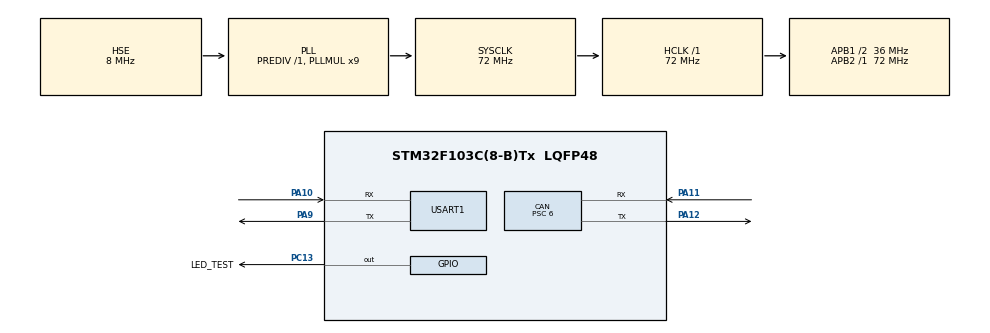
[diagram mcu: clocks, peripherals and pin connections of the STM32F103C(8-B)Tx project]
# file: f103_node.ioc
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CAN.ABOM=ENABLE
CAN.BS1=CAN_BS1_6TQ
CAN.BS2=CAN_BS2_5TQ
CAN.CalculateBaudRate=499999
CAN.CalculateTimeBit=2000
CAN.CalculateTimeQuantum=166.66666666666669
CAN.NART=ENABLE
CAN.Prescaler=6
Mcu.Family=STM32F1
Mcu.Name=STM32F103C(8-B)Tx
Mcu.Package=LQFP48
NVIC.PriorityGroup=NVIC_PRIORITYGROUP_4
NVIC.USART1_IRQn=true\:10\:0\:true\:false\:true\:true\:true\:true
NVIC.USB_HP_CAN1_TX_IRQn=true\:9\:0\:true\:false\:true\:true\:true\:true
NVIC.USB_LP_CAN1_RX0_IRQn=true\:9\:0\:true\:false\:true\:true\:true\:true
PA10.Mode=Asynchronous
PA10.Signal=USART1_RX
PA11.Mode=CAN_Activate
PA11.Signal=CAN_RX
PA12.Mode=CAN_Activate
PA12.Signal=CAN_TX
PA13.Mode=Serial_Wire
PA13.Signal=SYS_JTMS-SWDIO
PA14.Mode=Serial_Wire
PA14.Signal=SYS_JTCK-SWCLK
PA9.Mode=Asynchronous
PA9.Signal=USART1_TX
PC13-TAMPER-RTC.GPIO_Label=LED_TEST
PC13-TAMPER-RTC.PinState=GPIO_PIN_RESET
PC13-TAMPER-RTC.Signal=GPIO_Output
PD0-OSC_IN.Mode=HSE-External-Oscillator
PD0-OSC_IN.Signal=RCC_OSC_IN
PD1-OSC_OUT.Mode=HSE-External-Oscillator
PD1-OSC_OUT.Signal=RCC_OSC_OUT
ProjectManager.HeapSize=0x200
ProjectManager.StackSize=0x400
ProjectManager.TargetToolchain=CMake
RCC.AHBFreq_Value=72000000
RCC.APB1CLKDivider=RCC_HCLK_DIV2
RCC.APB1Freq_Value=36000000
RCC.APB1TimFreq_Value=72000000
RCC.APB2Freq_Value=72000000
RCC.APB2TimFreq_Value=72000000
RCC.HCLKFreq_Value=72000000
RCC.PLLMUL=RCC_PLL_MUL9
RCC.PLLSourceVirtual=RCC_PLLSOURCE_HSE
RCC.SYSCLKFreq_VALUE=72000000
RCC.SYSCLKSource=RCC_SYSCLKSOURCE_PLLCLK
RCC.USBFreq_Value=72000000
USART1.VirtualMode=VM_ASYNC
board=custom

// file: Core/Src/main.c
/* USER CODE BEGIN Header */
/**
  ******************************************************************************
  * @file           : main.c
  * @brief          : Main program body
  ******************************************************************************
  * @attention
  *
  * Copyright (c) 2026 STMicroelectronics.
  * All rights reserved.
  *
  * This software is licensed under terms that can be found in the LICENSE file
  * in the root directory of this software component.
  * If no LICENSE file comes with this software, it is provided AS-IS.
  *
  ******************************************************************************
  */
/* USER CODE END Header */
#include "main.h"
#include "can.h"
#include "usart.h"
#include "gpio.h"

/* USER CODE BEGIN Includes */

#include "can.h"

/* USER CODE END Includes */

/* USER CODE BEGIN PV */

volatile uint8_t heartbeat_in_flight = 0;
volatile uint8_t stateframe_in_flight = 0;
state volatile state_frame = {0};

/* USER CODE END PV */

void SystemClock_Config(void);

/* USER CODE BEGIN 0 */

volatile static uint16_t least_rpm = 0;
uint8_t Set_RPM(uint16_t rpm) {
  if (rpm == least_rpm) {
    return 2; // 目标转速重复，可以认为设置成功
  }
  if (0) {
    return 0; // 设置失败
  }
  least_rpm = rpm;
  HAL_GPIO_TogglePin(LED_TEST_GPIO_Port, LED_TEST_Pin);
  return 1; // 设置成功
}

uint8_t state_num = 0;
uint8_t Get_State(void) {
  if (0) {
    return 1; // 获取状态失败 以后再实现
  }
  state_frame.curentrpm = 930;
  state_frame.targetrpm = least_rpm;
  state_frame.voltage = 240;
  state_frame.temperature = 36;
  state_frame.state = 0x01;
  state_frame.errorcode = 0x00;
  state_frame.statenum = state_num++;
  return 0; // 获取状态成功
}

/* USER CODE END 0 */

int main(void)
{

  /* MCU Configuration--------------------------------------------------------*/

  /* Reset of all peripherals, Initializes the Flash interface and the Systick. */
  HAL_Init();

  /* Configure the system clock */
  SystemClock_Config();

  /* Initialize all configured peripherals */
  MX_GPIO_Init();
  MX_CAN_Init();
  MX_USART1_UART_Init();

  /* Infinite loop */
  /* USER CODE BEGIN WHILE */

  volatile static uint32_t least_tick_heart = 0;
  volatile static uint32_t least_tick_command = 0;
  volatile static uint32_t least_tick_state = 0;
  volatile static uint32_t heart_num = 0;
  least_tick_heart =  HAL_GetTick();
  least_tick_command =  HAL_GetTick();
  least_tick_state =  HAL_GetTick();
  while (1)
  {
    if (((HAL_GetTick() - least_tick_heart) >= 500) && !heartbeat_in_flight) {
      least_tick_heart = HAL_GetTick();
      CAN_Heart(heart_num++);
    }

    /* 执行控制命令 */
    if (((HAL_GetTick() - least_tick_command) >= 10) && Event_Flats.Total_Event > 0) {
      least_tick_command = HAL_GetTick();
      uint8_t commandcode = 0, commanddata[8], commandnum = 0;
      if (Event_Flats.RPM_Event > 0) {
        Event_Flats.Total_Event--;
        Event_Flats.RPM_Event--;
        if (ReadCommandValue(0x01, commanddata)) {
          /* 命令空  */
          Event_Flats.Error_Event++;
        }
        else {
          uint16_t rpm = 0;
          uint8_t status = 0;
          commandcode = commanddata[0];
          rpm = commanddata[1] | commanddata[2] << 8; // 小端序保存
          commandnum = commanddata[3];
          status = Set_RPM(rpm);
          if (status) {
            /* 发送应答 */
            CAN_ACK(commandcode, 0x00, commandnum);
          }
          else {
            CAN_ACK(commandcode, 0x01, commandnum);
            Event_Flats.Error_Event++;
          }
        }
      }
    }

    if (((HAL_GetTick() - least_tick_state) >= 5000) && !stateframe_in_flight) {
      least_tick_state = HAL_GetTick();
      Get_State();
      CAN_State(state_frame);
    }

    if (heartbeat_in_flight == 1 && !HAL_CAN_IsTxMessagePending(&hcan, CAN_Heartbeat_Frame.mailbox)) {
      heartbeat_in_flight = 0;
    }

    if (stateframe_in_flight == 1 && !HAL_CAN_IsTxMessagePending(&hcan, CAN_State_Frame.mailbox)) {
      stateframe_in_flight = 0;
    }

    /* USER CODE END WHILE */

  }
}

void SystemClock_Config(void)
{
  RCC_OscInitTypeDef RCC_OscInitStruct = {0};
  RCC_ClkInitTypeDef RCC_ClkInitStruct = {0};

  /** Initializes the RCC Oscillators according to the specified parameters
  * in the RCC_OscInitTypeDef structure.
  */
  RCC_OscInitStruct.OscillatorType = RCC_OSCILLATORTYPE_HSE;
  RCC_OscInitStruct.HSEState = RCC_HSE_ON;
  RCC_OscInitStruct.HSEPredivValue = RCC_HSE_PREDIV_DIV1;
  RCC_OscInitStruct.HSIState = RCC_HSI_ON;
  RCC_OscInitStruct.PLL.PLLState = RCC_PLL_ON;
  RCC_OscInitStruct.PLL.PLLSource = RCC_PLLSOURCE_HSE;
  RCC_OscInitStruct.PLL.PLLMUL = RCC_PLL_MUL9;
  if (HAL_RCC_OscConfig(&RCC_OscInitStruct) != HAL_OK)
  {
    Error_Handler();
  }

  /** Initializes the CPU, AHB and APB buses clocks
  */
  RCC_ClkInitStruct.ClockType = RCC_CLOCKTYPE_HCLK|RCC_CLOCKTYPE_SYSCLK
                              |RCC_CLOCKTYPE_PCLK1|RCC_CLOCKTYPE_PCLK2;
  RCC_ClkInitStruct.SYSCLKSource = RCC_SYSCLKSOURCE_PLLCLK;
  RCC_ClkInitStruct.AHBCLKDivider = RCC_SYSCLK_DIV1;
  RCC_ClkInitStruct.APB1CLKDivider = RCC_HCLK_DIV2;
  RCC_ClkInitStruct.APB2CLKDivider = RCC_HCLK_DIV1;

  if (HAL_RCC_ClockConfig(&RCC_ClkInitStruct, FLASH_LATENCY_2) != HAL_OK)
  {
    Error_Handler();
  }
}

void Error_Handler(void)
{
  __disable_irq();
  while (1)
  {
  }
}
